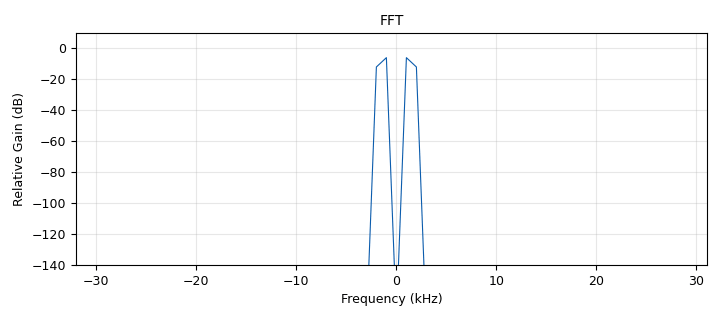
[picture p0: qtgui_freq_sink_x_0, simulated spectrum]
options:
  parameters:
    author: yabool2001
    copyright: mzemlo.pl@gmail.com
    description: https://wiki.gnuradio.org/index.php/QT_GUI_Frequency_Sink
    generate_options: qt_gui
    id: yabool2001_QT_GUI_Frequency_Sink_example_1
    output_language: python
    title: yabool2001 QT GUI Frequency Sink example 1
  states: {}

blocks:
- name: f_c
  id: variable
  parameters:
    value: int(7*1e3)
  states: {}
- name: samp_rate
  id: variable
  parameters:
    value: '64000'
  states: {}
- name: analog_sig_source_x_0
  id: analog_sig_source_x
  parameters:
    amp: '1'
    freq: '1000'
    offset: '0'
    phase: '0'
    samp_rate: samp_rate
    type: float
    waveform: analog.GR_COS_WAVE
  states: {}
- name: analog_sig_source_x_0_0
  id: analog_sig_source_x
  parameters:
    amp: '1'
    freq: f_c
    offset: '0'
    phase: '0'
    samp_rate: samp_rate
    type: float
    waveform: analog.GR_SQR_WAVE
  states: {state: disabled}
- name: analog_sig_source_x_0_1
  id: analog_sig_source_x
  parameters:
    amp: '0.5'
    freq: '2000'
    offset: '0'
    phase: '0'
    samp_rate: samp_rate
    type: float
    waveform: analog.GR_COS_WAVE
  states: {}
- name: blocks_add_xx_0
  id: blocks_add_xx
  parameters:
    type: float
  states: {}
- name: blocks_throttle2_0
  id: blocks_throttle2
  parameters:
    samples_per_second: samp_rate
    type: float
  states: {}
- name: blocks_throttle2_0_0
  id: blocks_throttle2
  parameters:
    samples_per_second: samp_rate
    type: float
  states: {state: disabled}
- name: qtgui_freq_sink_x_0
  id: qtgui_freq_sink_x
  parameters:
    bw: samp_rate
    fc: '0'
    fftsize: '64'
    name: FFT
    norm_window: 'True'
    type: float
    wintype: window.WIN_RECTANGULAR
  states: {}
- name: qtgui_freq_sink_x_0_0
  id: qtgui_freq_sink_x
  parameters:
    autoscale: 'True'
    bw: samp_rate
    fc: f_c
    fftsize: '1024'
    name: '"Cosine"'
    type: float
  states: {state: disabled}

connections:
- [analog_sig_source_x_0, '0', blocks_add_xx_0, '0']
- [analog_sig_source_x_0_0, '0', blocks_throttle2_0_0, '0']
- [analog_sig_source_x_0_1, '0', blocks_add_xx_0, '1']
- [blocks_add_xx_0, '0', blocks_throttle2_0, '0']
- [blocks_throttle2_0, '0', qtgui_freq_sink_x_0, '0']
- [blocks_throttle2_0_0, '0', qtgui_freq_sink_x_0_0, '0']

metadata:
  file_format: 1
  grc_version: 3.10.10.0
